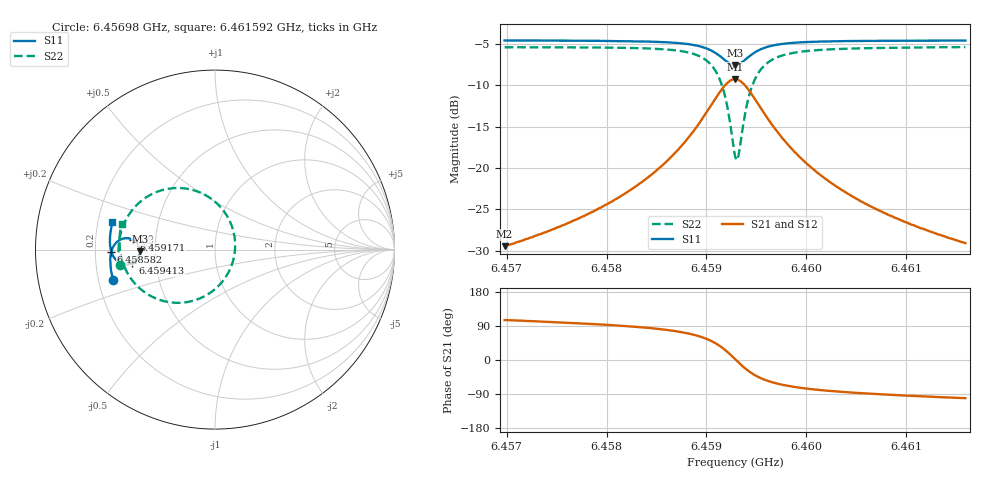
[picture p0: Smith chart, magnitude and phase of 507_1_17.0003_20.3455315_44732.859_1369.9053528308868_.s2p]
#  HZ  S  RI  R  50.00
! Rohde & Schwarz Vector Network Analyzer
! Rohde-Schwarz,ZNB20-2Port,1311601062101988,3.16
! Created: UTC 3/20/2024, 11:14:50 PM
! freq[Hz]  re:S11  im:S11  re:S21  im:S21  re:S12  im:S12  re:S22  im:S22
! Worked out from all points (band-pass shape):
!   401 points, 6.45698 GHz to 6.461592 GHz, reference 50 ohm
!   highest |S21| = -9.24 dB at 6.459286 GHz (marker M1); lowest = -29.5 dB at 6.45698 GHz (marker M2)
!   |S21| within 3 dB of the highest: 6.459056 GHz to 6.459517 GHz (460.7 kHz wide, 0.00713 % of centre)
!   lowest |S11| = -7.6 dB at 6.459286 GHz (marker M3), VSWR 2.44, Z = 20.5 - j0.479 ohm
!   |S11| at or under -10 dB: nowhere
!   |S22| runs from -19.0 to -5.3 dB; largest |S21 - S12| = 0.014
!   S11 on the Smith chart (normalised r, x): 6.45698 GHz: 0.26, -0.14; 6.458582 GHz: 0.27, -0.01; 6.459171 GHz: 0.37, +0.05; 6.459413 GHz: 0.37, -0.07; 6.461592 GHz: 0.26, +0.12
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6.4569795e9  -0.5668 -0.172  -0.00884 0.0324  -0.00711 0.0323  -0.5319 -0.0846
6.4577521e9  -0.5808 -0.1045  -0.00564 0.0502  -0.00305 0.0497  -0.5376 0.00553
6.4581673e9  -0.5837 -0.063  0.000175 0.0689  0.0033 0.0676  -0.5298 0.0708
6.4585247e9  -0.5799 -0.0205  0.0142 0.0985  0.0181 0.0957  -0.504 0.1506
6.4585824e9  -0.5781 -0.0126  0.0185 0.1054  0.0225 0.1023  -0.4959 0.1673
6.45879e9  -0.5651 0.0194  0.046 0.1377  0.0501 0.1328  -0.4445 0.2399
6.4589399e9  -0.5424 0.0458  0.0912 0.1682  0.0942 0.1615  -0.3612 0.3043
6.4590782e9  -0.4988 0.0633  0.178 0.1847  0.179 0.1774  -0.2023 0.3432
6.4591705e9  -0.4543 0.0533  0.2676 0.1537  0.268 0.1479  -0.036 0.2934
6.4592397e9  -0.4253 0.0214  0.3284 0.0822  0.3304 0.0767  0.0798 0.1643
6.4592858e9  -0.4184 -0.00964  0.3448 0.0143  0.3485 0.00723  0.1123 0.0374
6.4592973e9  -0.4188 -0.0177  0.3446 -0.00356  0.3484 -0.0112  0.1119 0.00361
6.4593204e9  -0.4223 -0.0333  0.339 -0.0381  0.3429 -0.0473  0.1009 -0.0622
6.4593665e9  -0.4379 -0.0593  0.3105 -0.0981  0.3126 -0.1101  0.0435 -0.1755
6.4594127e9  -0.4599 -0.0756  0.2685 -0.1392  0.2676 -0.1525  -0.0419 -0.2503
6.4595049e9  -0.5032 -0.0823  0.1838 -0.1703  0.1775 -0.1819  -0.2108 -0.2964
6.4596548e9  -0.547 -0.0617  0.0959 -0.1564  0.0874 -0.1627  -0.3783 -0.2467
6.4598163e9  -0.5685 -0.0341  0.0511 -0.1285  0.0435 -0.1312  -0.4586 -0.1746
6.4600584e9  -0.581 0.00147  0.022 -0.0972  0.0163 -0.0976  -0.5065 -0.0921
6.4604044e9  -0.5855 0.0426  0.0062 -0.0702  0.00209 -0.0698  -0.5277 -0.0131
6.460831e9  -0.5835 0.0854  -0.00146 -0.0517  -0.00436 -0.0508  -0.5317 0.0551
6.4615921e9  -0.5711 0.1527  -0.0065 -0.0345  -0.00826 -0.0335  -0.5204 0.145
